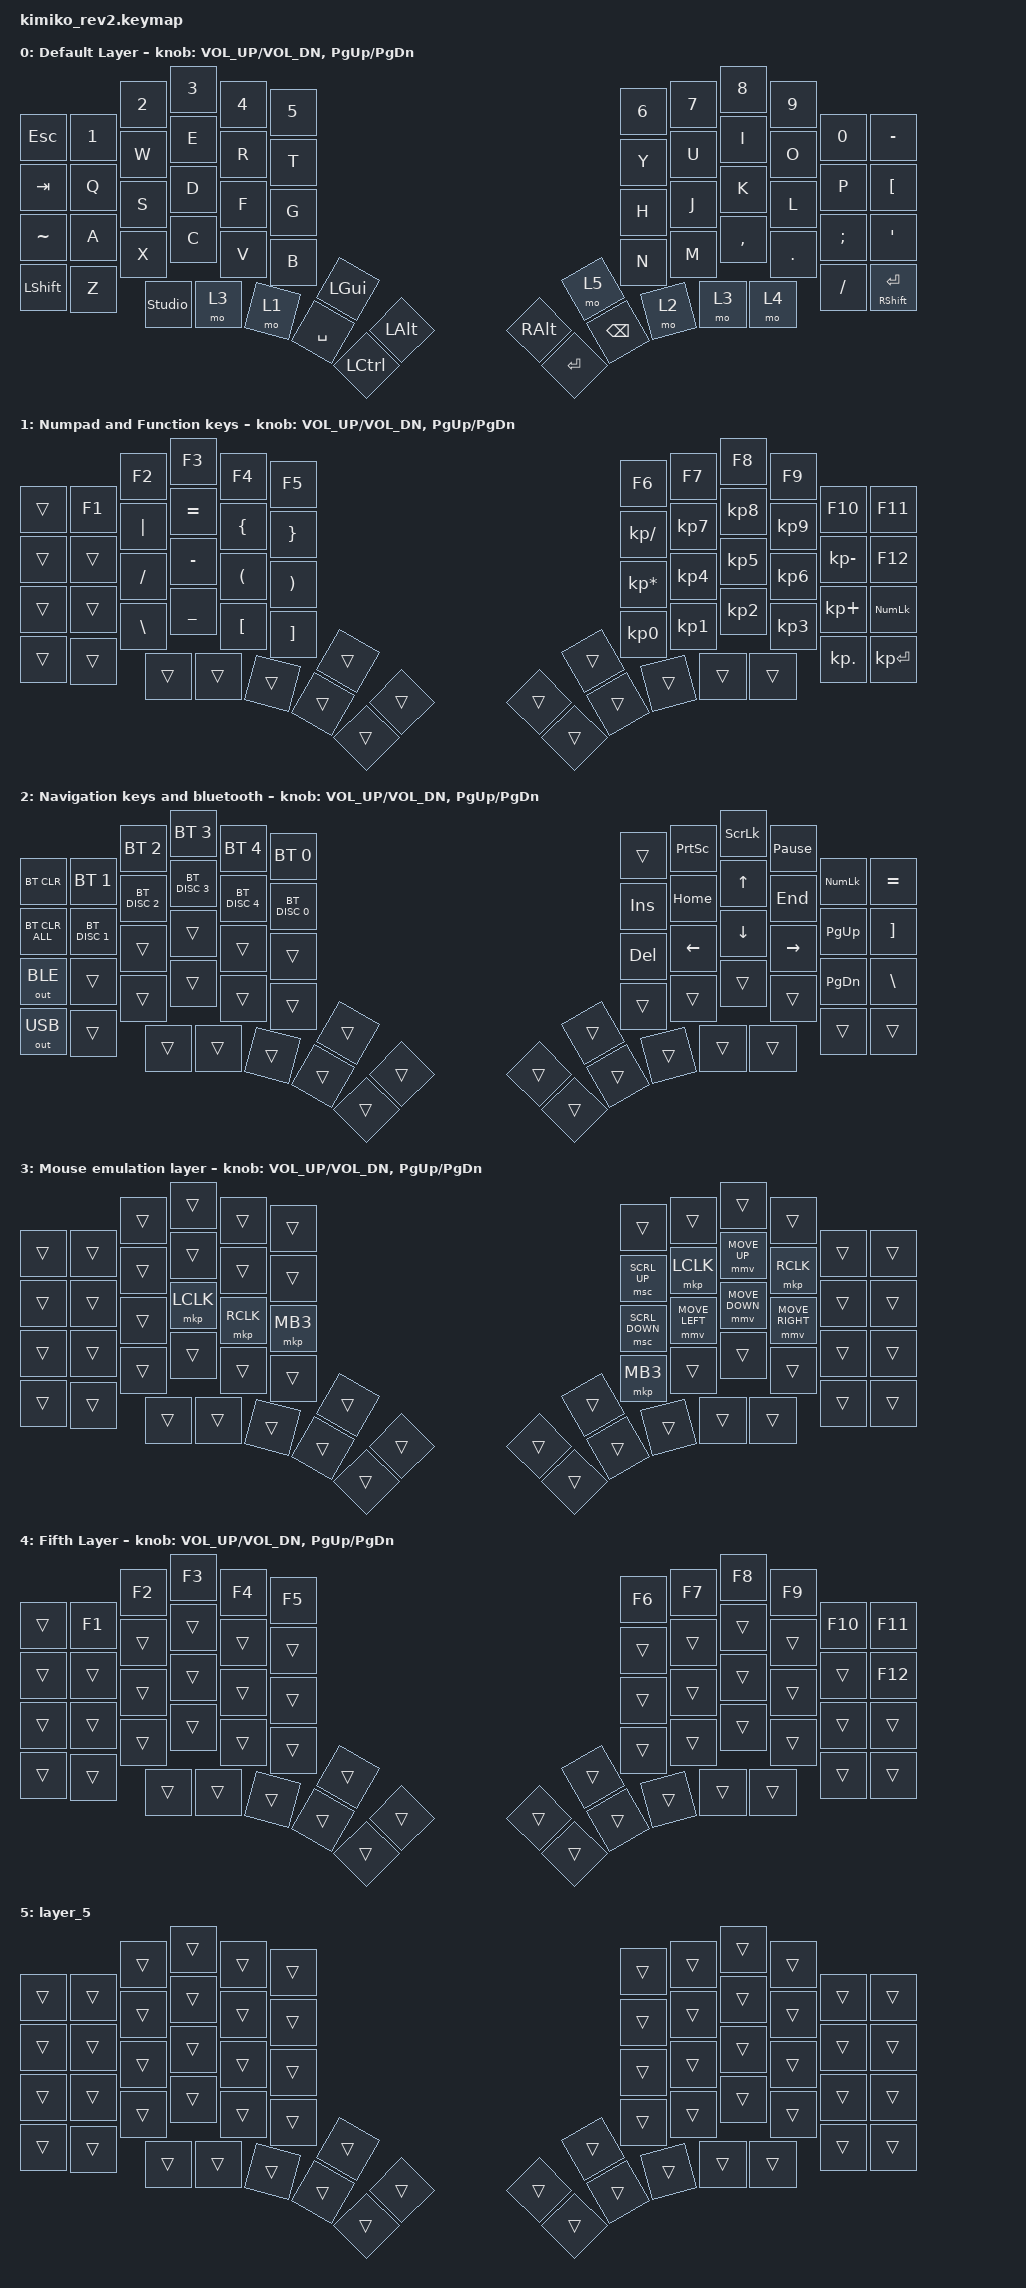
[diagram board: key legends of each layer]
// This file was generated from a template. Edit it to match your keyboard.
// See https://zmk.dev/docs/development/hardware-integration/new-shield for more instructions.

#include <behaviors.dtsi>
#include <dt-bindings/zmk/bt.h>
#include <dt-bindings/zmk/keys.h>
#include <dt-bindings/zmk/outputs.h>
#include <dt-bindings/zmk/pointing.h>

/ {
    // Define a default keymap here.
    // See https://zmk.dev/docs/development/hardware-integration/new-shield#default-keymap.

    keymap {
        compatible = "zmk,keymap";

        default_layer {
            display-name = "Default Layer";
            bindings = <
&kp ESC  &kp N1  &kp N2  &kp N3  &kp N4  &kp N5  &kp N6  &kp N7  &kp N8  &kp N9  &kp N0  &kp MINUS  &kp TAB  &kp Q  &kp W  &kp E  &kp R  &kp T  &kp Y  &kp U  &kp I  &kp O  &kp P  &kp LBKT  &kp TILDE  &kp A  &kp S  &kp D  &kp F  &kp G  &kp H  &kp J  &kp K  &kp L  &kp SEMICOLON  &kp SQT  &kp LSHFT  &kp Z  &kp X  &kp C  &kp V  &kp B  &kp LEFT_GUI  &kp LEFT_ALT  &kp RALT  &mo 5  &kp N  &kp M  &kp COMMA  &kp DOT  &kp SLASH  &mt RSHIFT ENTER  &studio_unlock  &mo 3  &mo 1  &kp SPACE  &kp LCTRL  &kp RET  &kp BACKSPACE  &mo 2  &mo 3  &mo 4
            >;

            sensor-bindings = <&inc_dec_kp C_VOL_UP C_VOL_DN &inc_dec_kp PG_UP PG_DN>;
        };

        numpad_function {
            display-name = "Numpad and Function keys";
            bindings = <
&trans  &kp F1  &kp F2  &kp F3  &kp F4  &kp F5  &kp F6  &kp F7  &kp F8  &kp F9  &kp F10  &kp F11  &trans  &trans  &kp PIPE  &kp EQUAL  &kp LEFT_BRACE  &kp RIGHT_BRACE  &kp KP_DIVIDE  &kp KP_N7  &kp KP_N8  &kp KP_N9  &kp KP_MINUS  &kp F12  &trans  &trans  &kp SLASH  &kp MINUS  &kp LEFT_PARENTHESIS  &kp RIGHT_PARENTHESIS  &kp KP_MULTIPLY  &kp KP_N4  &kp KP_NUMBER_5  &kp KP_N6  &kp KP_PLUS  &kp KP_NUMLOCK  &trans  &trans  &kp BACKSLASH  &kp UNDERSCORE  &kp LEFT_BRACKET  &kp RIGHT_BRACKET  &trans  &trans  &trans  &trans  &kp KP_N0  &kp KP_N1  &kp KP_NUMBER_2  &kp KP_N3  &kp KP_DOT  &kp KP_ENTER  &trans  &trans  &trans  &trans  &trans  &trans  &trans  &trans  &trans  &trans
            >;

            sensor-bindings = <&inc_dec_kp C_VOL_UP C_VOL_DN &inc_dec_kp PG_UP PG_DN>;
        };

        nav_bluetooth {
            display-name = "Navigation keys and bluetooth";
            bindings = <
&bt BT_CLR  &bt BT_SEL 1  &bt BT_SEL 2  &bt BT_SEL 3  &bt BT_SEL 4  &bt BT_SEL 0  &trans  &kp PRINTSCREEN  &kp SCROLLLOCK  &kp PAUSE_BREAK  &kp KP_NUMLOCK  &kp EQUAL  &bt BT_CLR_ALL  &bt BT_DISC 1  &bt BT_DISC 2  &bt BT_DISC 3  &bt BT_DISC 4  &bt BT_DISC 0  &kp INS  &kp HOME  &kp UP_ARROW  &kp END  &kp PG_UP  &kp RIGHT_BRACKET  &out OUT_BLE  &trans  &trans  &trans  &trans  &trans  &kp DEL  &kp LEFT_ARROW  &kp DOWN_ARROW  &kp RIGHT  &kp PAGE_DOWN  &kp BACKSLASH  &out OUT_USB  &trans  &trans  &trans  &trans  &trans  &trans  &trans  &trans  &trans  &trans  &trans  &trans  &trans  &trans  &trans  &trans  &trans  &trans  &trans  &trans  &trans  &trans  &trans  &trans  &trans
            >;

            sensor-bindings = <&inc_dec_kp C_VOL_UP C_VOL_DN &inc_dec_kp PG_UP PG_DN>;
        };

        mouse_layer {
            display-name = "Mouse emulation layer";
            bindings = <
&trans  &trans  &trans  &trans  &trans  &trans  &trans  &trans  &trans  &trans  &trans  &trans  &trans  &trans  &trans  &trans  &trans  &trans  &msc SCRL_UP  &mkp LCLK  &mmv MOVE_UP  &mkp RCLK  &trans  &trans  &trans  &trans  &trans  &mkp LCLK  &mkp RCLK  &mkp MB3  &msc SCRL_DOWN  &mmv MOVE_LEFT  &mmv MOVE_DOWN  &mmv MOVE_RIGHT  &trans  &trans  &trans  &trans  &trans  &trans  &trans  &trans  &trans  &trans  &trans  &trans  &mkp MB3  &trans  &trans  &trans  &trans  &trans  &trans  &trans  &trans  &trans  &trans  &trans  &trans  &trans  &trans  &trans
            >;

            sensor-bindings = <&inc_dec_kp C_VOL_UP C_VOL_DN &inc_dec_kp PG_UP PG_DN>;
        };

        function_layer {
            display-name = "Fifth Layer";
            bindings = <
&trans  &kp F1  &kp F2  &kp F3  &kp F4  &kp F5  &kp F6  &kp F7  &kp F8  &kp F9  &kp F10  &kp F11  &trans  &trans  &trans  &trans  &trans  &trans  &trans  &trans  &trans  &trans  &trans  &kp F12  &trans  &trans  &trans  &trans  &trans  &trans  &trans  &trans  &trans  &trans  &trans  &trans  &trans  &trans  &trans  &trans  &trans  &trans  &trans  &trans  &trans  &trans  &trans  &trans  &trans  &trans  &trans  &trans  &trans  &trans  &trans  &trans  &trans  &trans  &trans  &trans  &trans  &trans
            >;

            sensor-bindings = <&inc_dec_kp C_VOL_UP C_VOL_DN &inc_dec_kp PG_UP PG_DN>;
        };

        layer_5 {
            bindings = <
&trans  &trans  &trans  &trans  &trans  &trans  &trans  &trans  &trans  &trans  &trans  &trans  &trans  &trans  &trans  &trans  &trans  &trans  &trans  &trans  &trans  &trans  &trans  &trans  &trans  &trans  &trans  &trans  &trans  &trans  &trans  &trans  &trans  &trans  &trans  &trans  &trans  &trans  &trans  &trans  &trans  &trans  &trans  &trans  &trans  &trans  &trans  &trans  &trans  &trans  &trans  &trans  &trans  &trans  &trans  &trans  &trans  &trans  &trans  &trans  &trans  &trans
            >;
        };
    };
};

/*

//#include <behaviors/num_word.dtsi>
//#include <dt-bindings/zmk/bt.h>

/ {
	behaviors {
		ht_tp: ht_tp {
			compatible = "zmk,behavior-hold-tap";
			#binding-cells = <2>;
			tapping-term-ms = <250>;
			quick-tap-ms = <0>;
			require-prior-idle-ms = <125>;
			flavor = "tap-preferred";
			bindings = <&kp>, <&kp>;
		};
	};
	keymap {
		compatible = "zmk,keymap";
		colemak_layer {
			bindings = <
				 &none           &kp N1        &kp N2        &kp N3        &kp N4        &kp N5                                                                          &kp N6        &kp N7        &kp N8        &kp N9        &kp N0        &kp DEL
				 &kp TAB       &kp Q         &kp W         &lt FUNC F    &kp P         &kp B                                                                           &kp J         &kp L         &kp U         &kp Y         &kp SEMICOLON &kp BSPC
				 &kp LCTRL     &kp A         &kp R         &kp S         &kp T         &kp G                                                                           &kp M         &kp N         &kp E         &kp I         &kp O         &kp SQT
				 &kp LSHFT     &kp Z         &kp X         &kp C         &kp D         &kp V         &none           &kp UP                  &kp LEFT      &none           &kp K         &kp H         &kp COMMA     &kp DOT       &kp SLASH     &kp ESC
				                                           &none           &kp LCMD      &mo SQUARE    &kp SPACE     &kp DOWN                &kp RIGHT     &lt ARROW RET &mo TRIANGLE  &kp RALT      &kp LG(LC(Q))
			>;
		};
	};
};

*/
